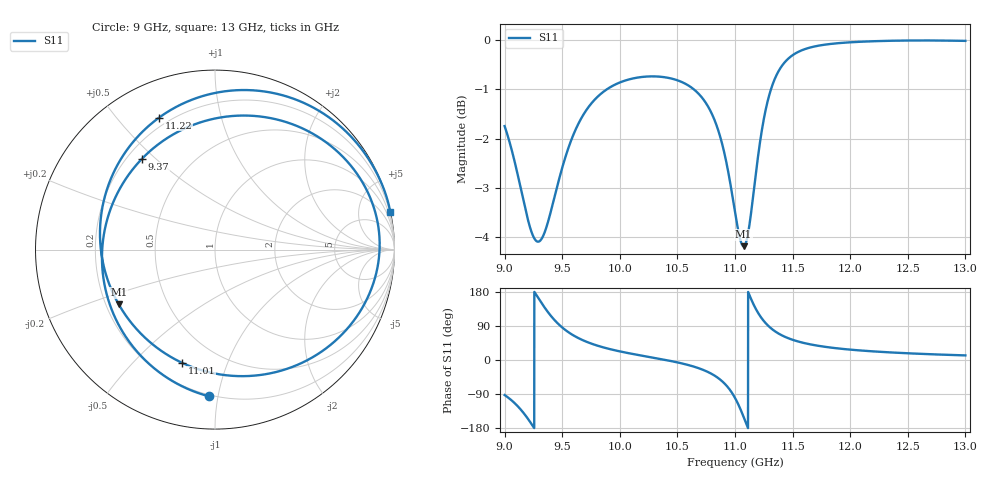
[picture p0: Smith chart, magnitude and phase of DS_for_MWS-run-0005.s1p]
! TOUCHSTONE file generated by CST DESIGN STUDIO
! Date and time: Tue Feb  4 18:41:39 2025
! Project name: C:\Work\MatlabApps\UnitCellOptimizationMatlab\CST\unitcell.cst
! Tree item: Tasks\Sweep1\SPara1\S-Parameters
! Header version: 2024
! Port assignment regex: !\s*Touchstone port\s*([0-9]+)\s*=\s*(CST MWS port|CST DES external port|CST DES block port)\s*(.+)\s* \(\"(.*)\"\)(\s*mode\s*([0-9]+))?.*
! Touchstone port assignment:
! Touchstone port 1 = CST DES external port 1 ("")
# GHz S MA R 50
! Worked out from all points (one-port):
!   4001 points, 9 GHz to 13 GHz, reference 50 ohm
!   lowest |S11| = -4.2 dB at 11.07 GHz (marker M1), VSWR 4.22, Z = 12.6 - j12.4 ohm
!   |S11| at or under -10 dB: nowhere
!   S11 on the Smith chart (normalised r, x): 9 GHz: 0.19, -0.94; 9.37 GHz: 0.26, +0.45; 11.01 GHz: 0.32, -0.70; 11.22 GHz: 0.16, +0.65; 13 GHz: 0.05, +9.42
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9  0.8179 -92.4
9.11  0.7329 -120.7
9.218  0.6465 -161.9
9.29  0.6236 164.7
9.37  0.6492 128.9
9.432  0.6916 105.8
9.5  0.7416 85.8
9.604  0.805 63.8
9.714  0.8506 47.7
10  0.906 22.7
10.5  0.9107 -6.3
10.682  0.8828 -21.4
10.81  0.8363 -38.8
10.908  0.7674 -61.7
11  0.6687 -100.0
11.011  0.6568 -106.2
11.075  0.6171 -150.4
11.109  0.6319 -176.6
11.142  0.6706 159.2
11.185  0.738 132.5
11.225  0.7988 112.9
11.282  0.8658 92.2
11.356  0.9195 73.9
11.5  0.9659 53.3
11.698  0.9863 38.7
12  0.9955 27.4
12.5  0.9997 17.7
13  0.9989 12.1
